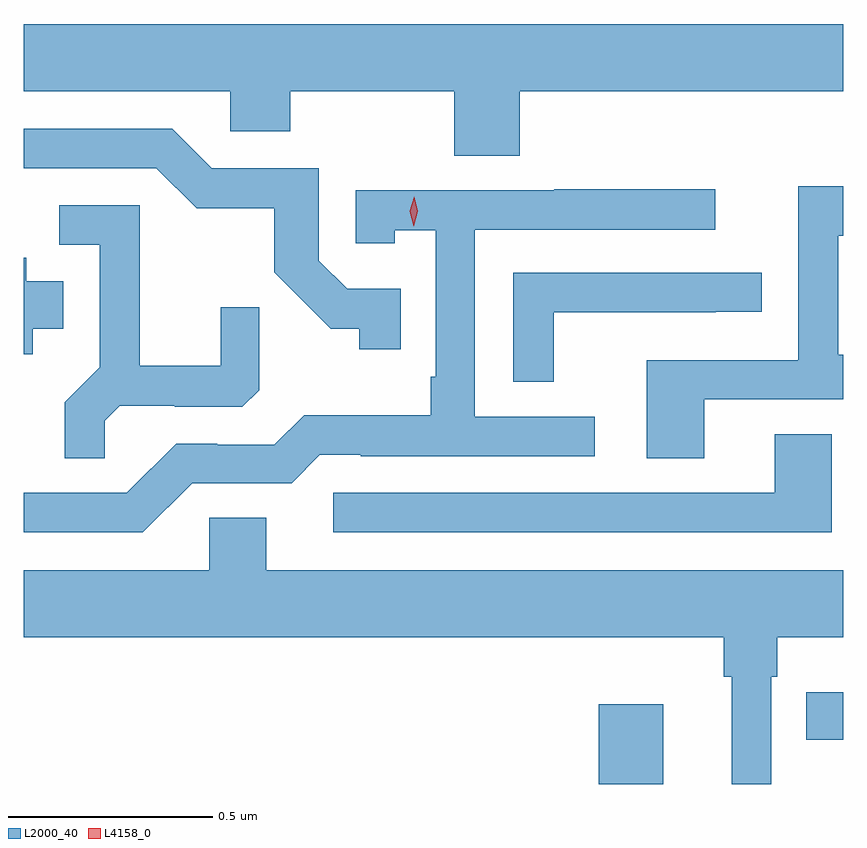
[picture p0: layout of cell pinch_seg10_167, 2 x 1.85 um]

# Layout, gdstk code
import gdstk
lib = gdstk.Library(unit=1e-6, precision=1e-09)
def R(c, l, rs):  # rectangles x0, y0, x1, y1
    for r in rs: c.add(gdstk.rectangle(r[:2], r[2:], *l))
def P(c, l, *ps):  # polygons
    for p in ps: c.add(gdstk.Polygon(p, *l))
L2000_40 = (2000, 40)
L4158_0 = (4158, 0)

pinch_seg10_167 = lib.new_cell('pinch_seg10_167')
R(pinch_seg10_167, L2000_40, [(735.668,1286.638,735.826,1286.833), (736.174,1286.746,736.265,1286.862)])
P(pinch_seg10_167, L2000_40, [(735.476,1288.328),(736.265,1288.328),(736.265,1288.492),(734.265,1288.492),(734.265,1288.328),(734.769,1288.328),(734.769,1288.23),(734.916,1288.23),(734.916,1288.328),(735.316,1288.328),(735.316,1288.171),(735.476,1288.171)],
  [(735.185,1287.846),(735.054,1287.846),(734.985,1287.915),(734.985,1288.14),(734.724,1288.14),(734.628,1288.236),(734.265,1288.236),(734.265,1288.14),(734.589,1288.14),(734.688,1288.042),(734.877,1288.042),(734.877,1287.886),(735.014,1287.749),(735.084,1287.749),(735.084,1287.699),(735.185,1287.699)],
  [(735.925,1287.576),(736.265,1287.576),(736.265,1287.685),(736.252,1287.685),(736.252,1287.976),(736.265,1287.976),(736.265,1288.096),(736.155,1288.096),(736.155,1287.672),(735.785,1287.672),(735.785,1287.433),(735.925,1287.433)],
  [(734.676,1287.372),(734.919,1287.372),(734.988,1287.441),(735.088,1287.441),(735.088,1287.438),(735.658,1287.438),(735.658,1287.534),(735.366,1287.534),(735.366,1287.99),(735.952,1287.99),(735.952,1288.089),(735.559,1288.089),(735.559,1288.086),(735.075,1288.086),(735.075,1287.957),(735.171,1287.957),(735.171,1287.989),(735.27,1287.989),(735.27,1287.631),(735.258,1287.631),(735.258,1287.538),(734.95,1287.538),(734.877,1287.465),(734.738,1287.465),(734.738,1287.468),(734.637,1287.468),(734.517,1287.348),(734.265,1287.348),(734.265,1287.252),(734.556,1287.252)],
  [(734.463,1287.524),(734.5,1287.561),(734.634,1287.561),(734.634,1287.558),(734.799,1287.558),(734.84,1287.599),(734.84,1287.801),(734.746,1287.801),(734.746,1287.658),(734.549,1287.658),(734.549,1288.05),(734.352,1288.05),(734.352,1287.954),(734.451,1287.954),(734.451,1287.655),(734.365,1287.569),(734.365,1287.433),(734.463,1287.433)],
  [(734.287,1287.749),(734.362,1287.749),(734.362,1287.865),(734.272,1287.865),(734.272,1287.922),(734.265,1287.922),(734.265,1287.686),(734.287,1287.686)],
  [(735.558,1287.789),(735.953,1287.789),(735.953,1287.79),(736.066,1287.79),(736.066,1287.885),(735.459,1287.885),(735.459,1287.619),(735.558,1287.619)],
  [(736.237,1287.491),(736.097,1287.491),(736.097,1287.348),(735.021,1287.348),(735.021,1287.252),(736.237,1287.252)],
  [(736.089,1286.9),(736.103,1286.9),(736.103,1286.996),(736.265,1286.996),(736.265,1287.16),(734.857,1287.16),(734.857,1287.287),(734.718,1287.287),(734.718,1287.16),(734.265,1287.16),(734.265,1286.996),(735.973,1286.996),(735.973,1286.9),(735.992,1286.9),(735.992,1286.638),(736.089,1286.638)])
P(pinch_seg10_167, L4158_0, [(735.217,1287.999),(735.217,1287.999),(735.207,1288.035),(735.218,1288.071),(735.218,1288.071),(735.218,1288.071),(735.227,1288.035),(735.217,1287.999)])

lib.write_gds('pinch_seg10_167.gds')
